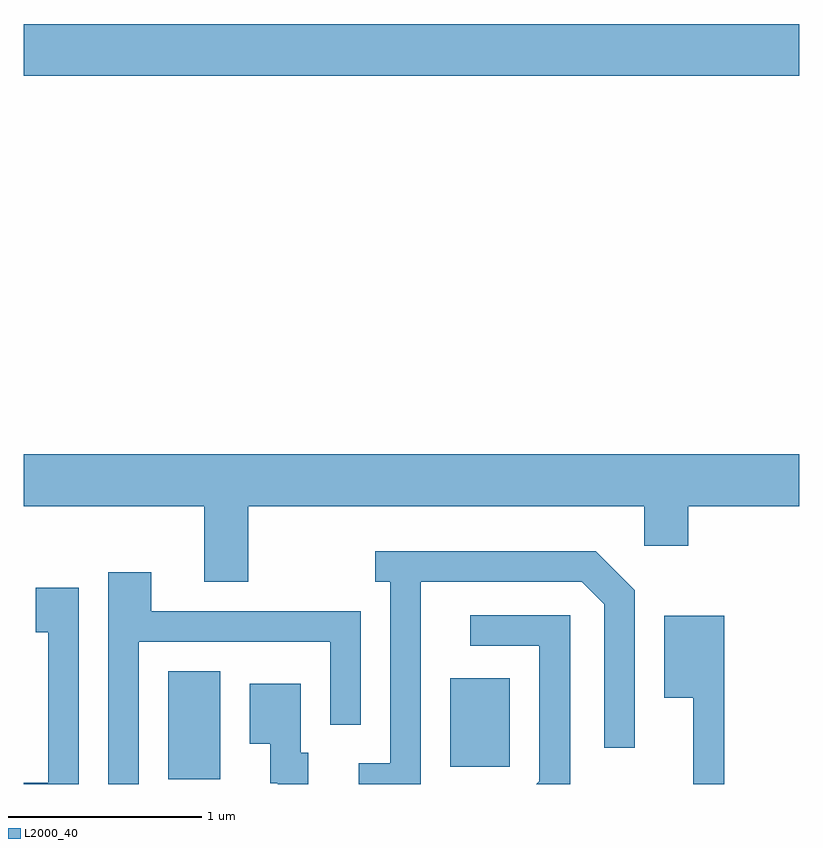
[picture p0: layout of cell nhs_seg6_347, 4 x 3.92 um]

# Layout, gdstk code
import gdstk
lib = gdstk.Library(unit=1e-6, precision=1e-09)
def R(c, l, rs):  # rectangles x0, y0, x1, y1
    for r in rs: c.add(gdstk.rectangle(r[:2], r[2:], *l))
def P(c, l, *ps):  # polygons
    for p in ps: c.add(gdstk.Polygon(p, *l))
L2000_40 = (2000, 40)

nhs_seg6_347 = lib.new_cell('nhs_seg6_347')
R(nhs_seg6_347, L2000_40, [(196.356,1544.186,196.624,1544.744), (197.811,1544.251,198.119,1544.709), (195.611,1547.816,199.611,1548.084)])
P(nhs_seg6_347, L2000_40, [(196.769,1545.596),(198.811,1545.596),(198.811,1545.391),(199.039,1545.391),(199.039,1545.596),(199.611,1545.596),(199.611,1545.864),(195.611,1545.864),(195.611,1545.596),(196.541,1545.596),(196.541,1545.206),(196.769,1545.206)],
  [(197.659,1545.206),(198.489,1545.206),(198.606,1545.089),(198.606,1544.348),(198.764,1544.348),(198.764,1545.162),(198.562,1545.364),(197.423,1545.364),(197.423,1545.206),(197.501,1545.206),(197.501,1544.269),(197.338,1544.269),(197.338,1544.162),(197.659,1544.162)],
  [(196.204,1544.896),(197.191,1544.896),(197.191,1544.468),(197.349,1544.468),(197.349,1545.054),(196.269,1545.054),(196.269,1545.254),(196.046,1545.254),(196.046,1544.162),(196.204,1544.162)],
  [(195.894,1545.174),(195.671,1545.174),(195.671,1544.946),(195.736,1544.946),(195.736,1544.169),(195.611,1544.169),(195.611,1544.162),(195.894,1544.162)],
  [(198.429,1545.034),(197.913,1545.034),(197.913,1544.876),(198.271,1544.876),(198.271,1544.177),(198.256,1544.162),(198.429,1544.162)],
  [(199.224,1545.029),(198.916,1545.029),(198.916,1544.606),(199.066,1544.606),(199.066,1544.162),(199.224,1544.162)],
  [(197.079,1544.324),(197.039,1544.324),(197.039,1544.679),(196.776,1544.679),(196.776,1544.371),(196.881,1544.371),(196.881,1544.166),(196.921,1544.166),(196.921,1544.162),(197.079,1544.162)])

lib.write_gds('nhs_seg6_347.gds')
